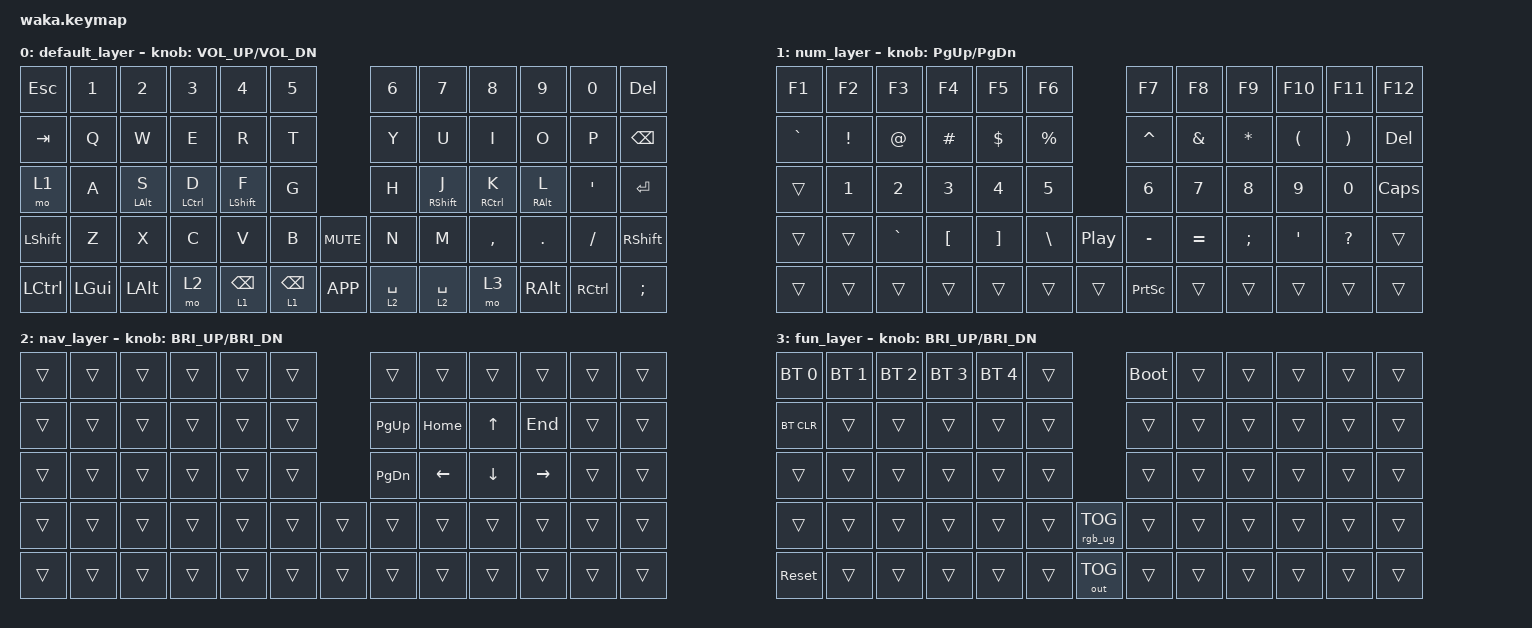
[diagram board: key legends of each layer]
/*
  * Copyright (c) 2020 The ZMK Contributors
  *
  * SPDX-License-Identifier: MIT
  */

#include <behaviors.dtsi>
#include <dt-bindings/zmk/bt.h>
#include <dt-bindings/zmk/keys.h>

// #include <dt-bindings/zmk/rgb.h>

#define DEFAULT 0
#define NUM     1
#define NAV     2
#define FUN     3

/ {
    combos {
        compatible = "zmk,combos";
        combo_esc {
            timeout-ms = <50>;
            key-positions = <14 15>;
            layers = <0>;
            bindings = <&kp ESC>;
        };
        combo_tab {
            timeout-ms = <50>;
            key-positions = <15 26>;
            layers = <0>;
            bindings = <&kp TAB>;
        };
        combo_backspaceword {
            timeout-ms = <50>;
            key-positions = <32 33>;
            layers = <0>;
            bindings = <&kp RC(BSPC)>;
        };
        combo_caps {
            timeout-ms = <50>;
            key-positions = <37 48>;
            layers = <0>;
            bindings = <&kp CAPS>;
        };
        combo_caps {
            timeout-ms = <50>;
            key-positions = <29 32>;
            layers = <0>;
            bindings = <&kp CAPS>;
   };

&encoder_1 {
    status = "okay";
};

/{

    keymap {
        compatible = "zmk,keymap";

        default_layer {
            // layer 0 ----------------------------------------------------------------------------------------------------------------------------
            // |   ESC   |    1    |    2    |    3    |    4    |    5    |---------|    6    |    7    |    8    |    9    |    0    |  DELETE |
            // |   TAB   |    Q    |    W    |    E    |    R    |    T    |---------|    Y    |    U    |    I    |    O    |    P    |BACKSPACE|
            // |  Mo(1)  |    A    |  alt/S  |  ctrl/D |  shft/F |    G    |---------|    H    |  shft/J |  ctrl/K |  alt/L  |    '    |  ENTER  |
            // |  SHIFT  |    Z    |    X    |    C    |    V    |    B    |Vol+-mute|    N    |    M    |    ,    |    .    |    /    |  SHIFT  |
            // |  CTRL   |   WIN   |   ALT   |  Mo(2)  | L1/BSPC | L1/BSPC |  SPACE  | L2/SPC  | L2/SPC  |  Mo(3)  |   ALT   |   CTRL  |   CTRL  |

            bindings = <
&kp ESC    &kp N1   &kp N2     &kp N3      &kp N4       &kp N5                  &kp N6       &kp N7        &kp N8      &kp N9      &kp N0     &kp DEL
&kp TAB    &kp Q    &kp W      &kp E       &kp R        &kp T                   &kp Y        &kp U         &kp I       &kp O       &kp P      &kp BSPC
&mo 1      &kp A    &mt LALT S &mt LCTRL D &mt LSHIFT F &kp G                   &kp H        &mt RSHIFT J  &mt RCTRL K &mt RALT L  &kp APOS   &kp ENTER
&kp LSHIFT &kp Z    &kp X      &kp C       &kp V        &kp B       &kp C_MUTE  &kp N        &kp M         &kp COMMA   &kp DOT     &kp SLASH  &kp RSHIFT 
&kp LCTRL  &kp LGUI &kp LALT   &mo 2       &lt 1 BSPC   &lt 1 BSPC  &kp K_APP   &lt 2 SPACE  &lt 2 SPACE   &mo 3       &kp RALT    &kp RCTRL  &kp SEMI
            >;

            sensor-bindings = <&inc_dec_kp C_VOL_UP C_VOL_DN>;
        };

        num_layer {
            // layer 1 ----------------------------------------------------------------------------------------------------------------------------
            // |   F1    |    F2   |    F3   |    F4   |    F5   |    F6   |---------|    F7   |    F8   |    F9   |   F10   |   F11   |   F12   |
            // |    `    |    !    |     @   |    #    |    $    |     %   |---------|    ^    |    &    |    *    |    (    |    )    |  DELETE |
            // |         |    1    |     2   |    3    |    4    |     5   |---------|    6    |    7    |    8    |    9    |    0    |         |
            // |         |         |   ~ `   |    {[   |    ]}   |    \    |MEDIA PP |    -    |    =    |    ;    |    '    |    ?    |         |
            // |         |         |         |         |         |         |         |         |         |         |         |         |         |

            bindings = <
   &kp F1  &kp F2   &kp F3    &kp F4    &kp F5   &kp F6             &kp F7    &kp F8    &kp F9    &kp F10   &kp F11   &kp F12
&kp GRAVE  &kp EXCL &kp AT    &kp POUND &kp DLLR &kp PRCNT          &kp CARET &kp AMPS  &kp STAR  &kp LPAR  &kp RPAR  &kp DEL
   &trans  &kp N1   &kp N2    &kp N3    &kp N4   &kp N5             &kp N6    &kp N7    &kp N8    &kp N9    &kp N0    &kp CAPS
   &trans  &trans   &kp GRAVE &kp LBKT  &kp RBKT &kp BSLH  &kp C_PP &kp MINUS &kp EQUAL &kp SEMI  &kp APOS  &kp QMARK &trans
   &trans  &trans   &trans    &trans    &trans   &trans    &trans   &kp PSCRN &trans    &trans    &trans    &trans    &trans
            >;

            sensor-bindings = <&inc_dec_kp PG_UP PG_DN>;
        };

        nav_layer {
            // layer 2 ----------------------------------------------------------------------------------------------------------------------------
            // |         |         |         |         |         |         |---------|         |         |         |         |         |         |
            // |         |         |         |         |         |         |---------|   PGUP  |  HOME   |    UP   |   END   |         |         |
            // |         |         |         |         |    F    |         |---------|   PGDN  |  LEFT   |   DOWN  |  RIGHT  |         |         |
            // |         |         |         |         |         |         | ENCODER |         |         |         |         |         |         |
            // |         |         |         |         |         |         |         |         |         |         |         |         |         |

            bindings = < 
&trans  &trans  &trans  &trans  &trans  &trans          &trans    &trans   &trans   &trans    &trans  &trans
&trans  &trans  &trans  &trans  &trans  &trans          &kp PG_UP &kp HOME &kp UP   &kp END   &trans  &trans
&trans  &trans  &trans  &trans  &trans  &trans          &kp PG_DN &kp LEFT &kp DOWN &kp RIGHT &trans  &trans
&trans  &trans  &trans  &trans  &trans  &trans  &trans  &trans    &trans   &trans   &trans    &trans  &trans
&trans  &trans  &trans  &trans  &trans  &trans  &trans  &trans    &trans   &trans   &trans    &trans  &trans
            >;
            sensor-bindings = <&inc_dec_kp C_BRI_UP C_BRI_DN>;
        };

 fun_layer {
            // layer 3 ----------------------------------------------------------------------------------------------------------------------------
            // |  BT 0   |  BT 1   |  BT 2   |  BT 3   |  BT 4   |         |---------|  FLASH  |         |         |         |         |         |
            // | BT Clr  |         |         |         |         |         |---------|         |         |         |         |         |         |
            // |         |         |         |         |         |         |---------|         |         |         |         |         |         |
            // |         |         |         |         |         |         | RGB TOG |         |         |         |         |         |         |
            // |  Reset  |         |         |         |         |         |OUTPT/TOG|         |         |         |         |         |         |

            bindings = <
&bt BT_SEL 0  &bt BT_SEL 1  &bt BT_SEL 2  &bt BT_SEL 3  &bt BT_SEL 4  &trans                 &bootloader  &trans  &trans  &trans  &trans  &trans
  &bt BT_CLR        &trans        &trans        &trans        &trans  &trans                 &trans       &trans  &trans  &trans  &trans  &trans
      &trans        &trans        &trans        &trans        &trans  &trans                 &trans       &trans  &trans  &trans  &trans  &trans
      &trans        &trans        &trans        &trans        &trans  &trans &rgb_ug RGB_TOG &trans       &trans  &trans  &trans  &trans  &trans
  &sys_reset        &trans        &trans        &trans        &trans  &trans &out OUT_TOG    &trans       &trans  &trans  &trans  &trans  &trans
            >;

            sensor-bindings = <&inc_dec_kp C_BRI_UP C_BRI_DN>;
     
        };
    };
};
